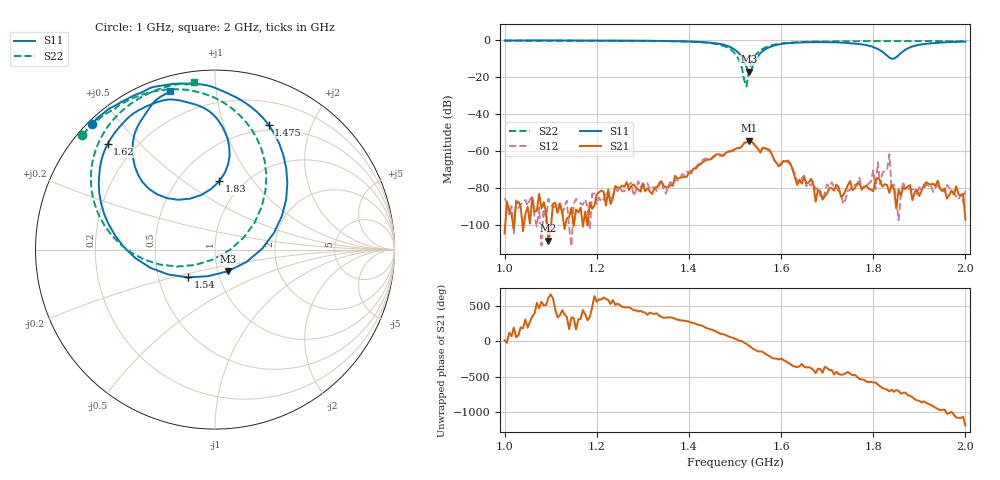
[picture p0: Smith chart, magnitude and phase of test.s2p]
# Hz S DB R 50
! CMT, C1220, 16058040, 17.2.0/1
! Date: 14/08/2018 11:29:16
! Data: Format (Calibration Info)
! Freq  S11: dB/Ang (F2)  S21: dB/Ang (F2)  S12: dB/Ang (F2)  S22: dB/Ang (F2)
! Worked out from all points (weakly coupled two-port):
!   201 points, 1 GHz to 2 GHz, reference 50 ohm
!   highest |S21| = -54.46 dB at 1.53 GHz (marker M1); lowest = -108.8 dB at 1.095 GHz (marker M2)
!   lowest |S11| = -17.1 dB at 1.53 GHz (marker M3), VSWR 1.33, Z = 55.9 - j13.8 ohm
!   |S11| at or under -10 dB: 1.517 GHz to 1.546 GHz (29.96 MHz wide, 1.96 % of centre); 1.839522 GHz to 1.845062 GHz (5.54 MHz wide, 0.301 % of centre)
!   |S22| runs from -25.1 to -0.2 dB; largest |S21 - S12| = 0.0008
!   S11 on the Smith chart (normalised r, x): 1 GHz: 0.01, +0.42; 1.475 GHz: 0.44, +1.43; 1.54 GHz: 0.71, -0.23; 1.62 GHz: 0.10, +0.41; 1.83 GHz: 0.78, +0.69; 2 GHz: 0.07, +0.75
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1e9  -0.19 134.5  -104.90 13.1  -85.76 105.4  -0.20 139.0
1.095e9  -0.16 128.7  -108.85 -104.4  -86.09 87.6  -0.22 133.2
1.17e9  -0.22 122.9  -101.16 81.9  -89.27 -120.7  -0.27 128.0
1.335e9  -0.37 107.2  -78.63 3.9  -77.48 5.6  -0.44 113.4
1.475e9  -2.42 66.7  -62.62 100.6  -62.50 100.1  -3.07 73.3
1.5e9  -5.22 42.6  -59.05 34.5  -59.99 36.8  -7.27 49.5
1.525e9  -14.48 -21.3  -55.44 -38.2  -55.40 -38.1  -25.08 -100.6
1.53e9  -17.06 -59.4  -54.46 -61.0  -54.59 -60.4  -17.09 -142.2
1.54e9  -13.31 -134.2  -56.13 -110.5  -56.14 -110.5  -9.94 -164.8
1.62e9  -1.53 135.5  -66.92 35.8  -67.58 35.5  -1.32 141.3
1.635e9  -1.31 129.8  -78.49 -7.0  -76.77 13.3  -1.09 137.2
1.67e9  -1.06 119.3  -78.20 -46.6  -76.89 -42.0  -0.79 130.1
1.775e9  -2.25 92.4  -80.62 -179.5  -81.31 -173.5  -0.51 116.6
1.8e9  -3.71 84.9  -81.95 136.0  -70.51 -9.6  -0.49 114.1
1.805e9  -4.19 83.3  -75.86 135.4  -80.75 174.3  -0.49 113.6
1.81e9  -4.79 82.1  -74.76 107.1  -66.12 -32.0  -0.49 113.1
1.815e9  -5.48 81.2  -76.07 81.6  -78.15 -2.0  -0.48 112.7
1.83e9  -8.38 86.5  -78.58 33.5  -70.46 65.9  -0.48 111.3
1.835e9  -9.39 93.4  -82.88 11.1  -61.89 -73.7  -0.47 110.9
1.84e9  -10.06 104.0  -78.47 32.8  -81.12 22.4  -0.47 110.4
1.885e9  -3.41 132.3  -86.77 -73.2  -81.20 -83.6  -0.48 106.4
2e9  -0.76 105.7  -97.38 -113.5  -81.89 -27.6  -0.53 97.3
